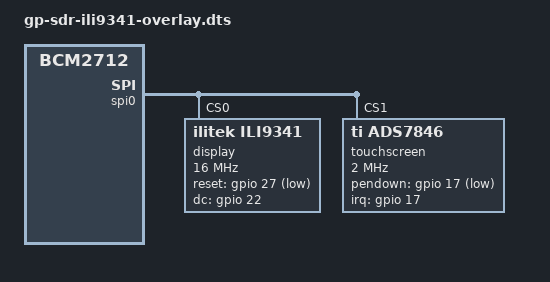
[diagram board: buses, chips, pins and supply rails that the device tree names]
/dts-v1/;
/plugin/;

/* SHCHV/LCDWIKI MPI2418-compatible 2.4-inch ILI9341 panel. */
/ {
    compatible = "brcm,bcm2835", "brcm,bcm2712";

    fragment@0 {
        target = <&spi0>;
        __overlay__ {
            status = "okay";
            spidev@0 { status = "disabled"; };
            spidev@1 { status = "disabled"; };
        };
    };

    fragment@1 {
        target = <&gpio>;
        __overlay__ {
            gp_sdr_tft_pins: gp_sdr_tft_pins {
                brcm,pins = <17 27 22>;
                brcm,function = <0 0 0>;
            };
        };
    };

    fragment@2 {
        target = <&spi0>;
        __overlay__ {
            #address-cells = <1>;
            #size-cells = <0>;
            display@0 {
                compatible = "ilitek,ili9341";
                reg = <0>;
                pinctrl-names = "default";
                pinctrl-0 = <&gp_sdr_tft_pins>;
                spi-max-frequency = <16000000>;
                txbuflen = <32768>;
                rotate = <270>;
                fps = <20>;
                bgr = <0>;
                buswidth = <8>;
                reset-gpios = <&gpio 27 1>;
                dc-gpios = <&gpio 22 0>;
            };
            touchscreen@1 {
                compatible = "ti,ads7846";
                reg = <1>;
                spi-max-frequency = <2000000>;
                interrupt-parent = <&gpio>;
                interrupts = <17 2>;
                pendown-gpio = <&gpio 17 1>;
                ti,x-plate-ohms = <60>;
                ti,pressure-max = <255>;
            };
        };
    };
};
